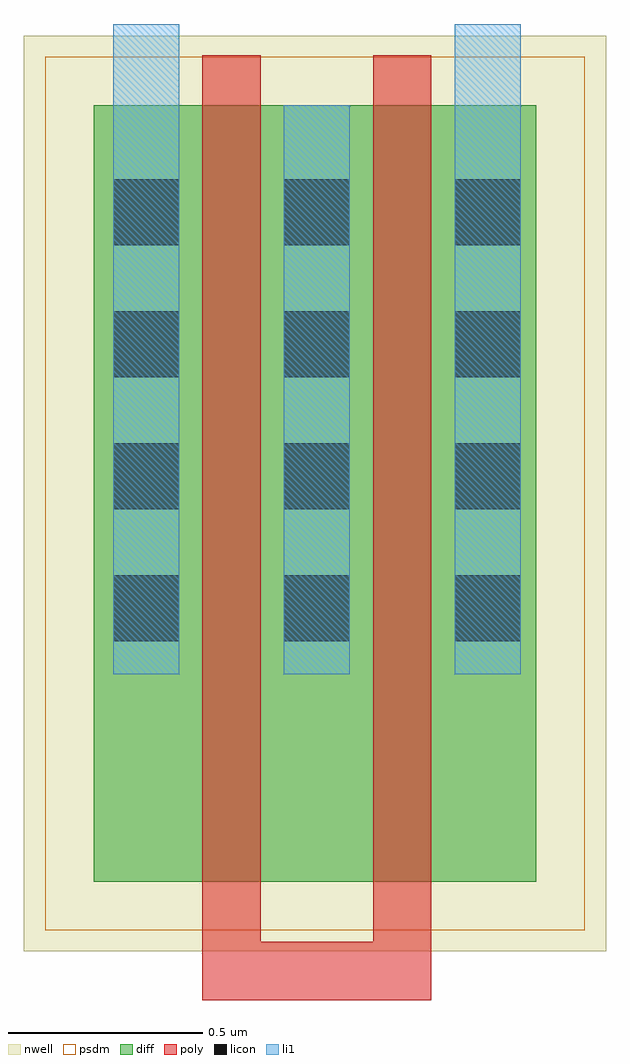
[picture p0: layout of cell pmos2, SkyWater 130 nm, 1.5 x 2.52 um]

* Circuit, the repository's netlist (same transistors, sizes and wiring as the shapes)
* NGSPICE file created from pmos2.ext - technology: sky130A

.subckt pmos2
X0 a_262_n400# a_144_n461# a_174_n400# w_52_n436# sky130_fd_pr__pfet_01v8 ad=0.54 pd=4.54 as=0.29 ps=2.29 w=2 l=0.15
X1 a_174_n400# a_144_n461# a_88_n400# w_52_n436# sky130_fd_pr__pfet_01v8 ad=0.29 pd=2.29 as=0.56 ps=4.56 w=2 l=0.15
.ends

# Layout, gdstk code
import gdstk
lib = gdstk.Library(unit=1e-6, precision=1e-09)
def R(c, l, rs):  # rectangles x0, y0, x1, y1
    for r in rs: c.add(gdstk.rectangle(r[:2], r[2:], *l))
def A(c, l, x, y, w, h, nx, ny, dx, dy):  # array of equal rectangles
    R(c, l, [(x+i*dx, y+j*dy, x+i*dx+w, y+j*dy+h) for i in range(nx) for j in range(ny)])
nwell = (64, 20)
diff = (65, 20)
poly = (66, 20)
licon = (66, 44)
li1 = (67, 20)
psdm = (94, 20)

pmos2 = lib.new_cell('pmos2')
R(pmos2, nwell, [(0.26,-2.18,1.76,0.18)])
R(pmos2, diff, [(0.44,-2,1.58,0)])
R(pmos2, poly, [(0.72,-2.305,1.31,-2.155), (0.72,-2.155,0.87,0.13), (1.16,-2.155,1.31,0.13)])
A(pmos2, licon, 0.49, -1.38, 0.17, 0.17, 3, 4, 0.44, 0.34)
R(pmos2, li1, [(0.49,-1.465,0.66,0.21), (0.93,-1.465,1.1,0), (1.37,-1.465,1.54,0.21)])
R(pmos2, psdm, [(0.315,-2.125,1.705,0.125)])

lib.write_gds('pmos2.gds')
